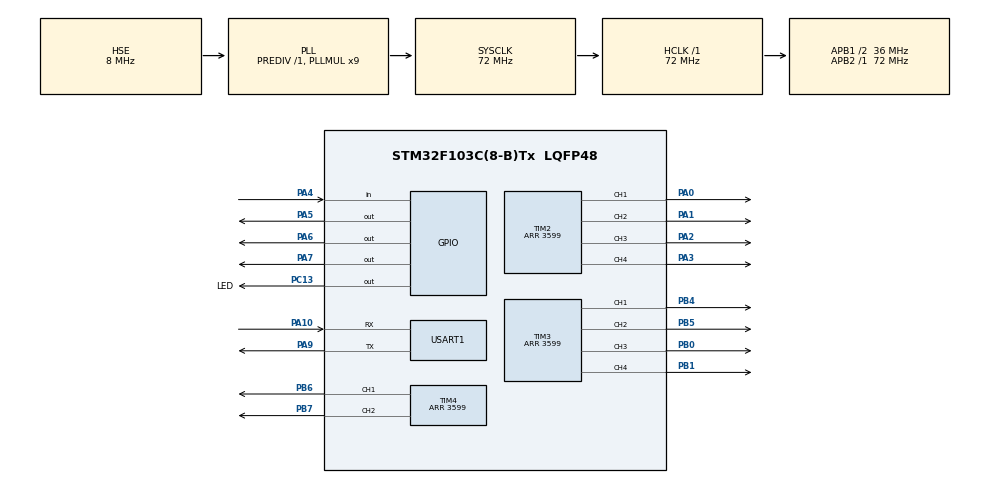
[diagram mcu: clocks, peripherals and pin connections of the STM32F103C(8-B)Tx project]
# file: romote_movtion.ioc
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Mcu.Family=STM32F1
Mcu.Name=STM32F103C(8-B)Tx
Mcu.Package=LQFP48
NVIC.PriorityGroup=NVIC_PRIORITYGROUP_4
PA0-WKUP.Signal=S_TIM2_CH1_ETR
PA1.Signal=S_TIM2_CH2
PA10.Mode=Asynchronous
PA10.Signal=USART1_RX
PA13.Mode=Serial_Wire
PA13.Signal=SYS_JTMS-SWDIO
PA14.Mode=Serial_Wire
PA14.Signal=SYS_JTCK-SWCLK
PA2.Signal=S_TIM2_CH3
PA3.Signal=S_TIM2_CH4
PA4.GPIO_PuPd=GPIO_PULLUP
PA4.Signal=GPIO_Input
PA5.GPIO_Speed=GPIO_SPEED_FREQ_HIGH
PA5.PinState=GPIO_PIN_RESET
PA5.Signal=GPIO_Output
PA6.GPIO_PuPd=GPIO_NOPULL
PA6.GPIO_Speed=GPIO_SPEED_FREQ_HIGH
PA6.PinState=GPIO_PIN_SET
PA6.Signal=GPIO_Output
PA7.GPIO_Speed=GPIO_SPEED_FREQ_HIGH
PA7.PinState=GPIO_PIN_SET
PA7.Signal=GPIO_Output
PC13.GPIO_Label=LED
PC13.PinState=GPIO_PIN_SET
PC13.Signal=GPIO_Output
PA9.Mode=Asynchronous
PA9.Signal=USART1_TX
PB0.Signal=S_TIM3_CH3
PB1.Signal=S_TIM3_CH4
PB4.Signal=S_TIM3_CH1
PB5.Signal=S_TIM3_CH2
PB6.Signal=S_TIM4_CH1
PB7.Signal=S_TIM4_CH2
PD0-OSC_IN.Mode=HSE-External-Oscillator
PD0-OSC_IN.Signal=RCC_OSC_IN
PD1-OSC_OUT.Mode=HSE-External-Oscillator
PD1-OSC_OUT.Signal=RCC_OSC_OUT
ProjectManager.HeapSize=0x200
ProjectManager.StackSize=0x800
ProjectManager.TargetToolchain=CMake
RCC.AHBFreq_Value=72000000
RCC.APB1CLKDivider=RCC_HCLK_DIV2
RCC.APB1Freq_Value=36000000
RCC.APB1TimFreq_Value=72000000
RCC.APB2Freq_Value=72000000
RCC.APB2TimFreq_Value=72000000
RCC.HCLKFreq_Value=72000000
RCC.PLLMUL=RCC_PLL_MUL9
RCC.PLLSourceVirtual=RCC_PLLSOURCE_HSE
RCC.SYSCLKFreq_VALUE=72000000
RCC.SYSCLKSource=RCC_SYSCLKSOURCE_PLLCLK
RCC.USBFreq_Value=72000000
SH.S_TIM2_CH1_ETR.0=TIM2_CH1,PWM Generation1 CH1
SH.S_TIM2_CH2.0=TIM2_CH2,PWM Generation2 CH2
SH.S_TIM2_CH3.0=TIM2_CH3,PWM Generation3 CH3
SH.S_TIM2_CH4.0=TIM2_CH4,PWM Generation4 CH4
SH.S_TIM3_CH1.0=TIM3_CH1,PWM Generation1 CH1
SH.S_TIM3_CH2.0=TIM3_CH2,PWM Generation2 CH2
SH.S_TIM3_CH3.0=TIM3_CH3,PWM Generation3 CH3
SH.S_TIM3_CH4.0=TIM3_CH4,PWM Generation4 CH4
SH.S_TIM4_CH1.0=TIM4_CH1,PWM Generation1 CH1
SH.S_TIM4_CH2.0=TIM4_CH2,PWM Generation2 CH2
TIM2.Channel-PWM\ Generation1\ CH1=TIM_CHANNEL_1
TIM2.Channel-PWM\ Generation2\ CH2=TIM_CHANNEL_2
TIM2.Channel-PWM\ Generation3\ CH3=TIM_CHANNEL_3
TIM2.Channel-PWM\ Generation4\ CH4=TIM_CHANNEL_4
TIM2.Period=3599
TIM3.Channel-PWM\ Generation1\ CH1=TIM_CHANNEL_1
TIM3.Channel-PWM\ Generation2\ CH2=TIM_CHANNEL_2
TIM3.Channel-PWM\ Generation3\ CH3=TIM_CHANNEL_3
TIM3.Channel-PWM\ Generation4\ CH4=TIM_CHANNEL_4
TIM3.Period=3599
TIM4.Channel-PWM\ Generation1\ CH1=TIM_CHANNEL_1
TIM4.Channel-PWM\ Generation2\ CH2=TIM_CHANNEL_2
TIM4.Period=3599
USART1.VirtualMode=VM_ASYNC
VP_TIM2_VS_ClockSourceINT.Mode=Internal
VP_TIM3_VS_ClockSourceINT.Mode=Internal
VP_TIM4_VS_ClockSourceINT.Mode=Internal
board=custom

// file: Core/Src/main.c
/* USER CODE BEGIN Header */
/**
  ******************************************************************************
  * @file           : main.c
  * @brief          : Main program body
  ******************************************************************************
  * @attention
  *
  * Copyright (c) 2026 STMicroelectronics.
  * All rights reserved.
  *
  * This software is licensed under terms that can be found in the LICENSE file
  * in the root directory of this software component.
  * If no LICENSE file comes with this software, it is provided AS-IS.
  *
  ******************************************************************************
  */
/* USER CODE END Header */
#include "main.h"
#include "tim.h"
#include "usart.h"
#include "gpio.h"

/* USER CODE BEGIN Includes */
#include "ps2.h"
#include "motor.h"
#include "chassis.h"
#include <stdio.h>
#include <math.h>
/* USER CODE END Includes */

/* USER CODE BEGIN PV */
/* ---------- 手柄状态 ---------- */
static ps2_state_t g_ps2;

/* ---------- 控制参数 ----------
 * 本手柄摇杆无模拟量，只能用方向按键做数字量控制
 */
#define CTRL_PERIOD_MS      10u    /* 控制周期 10ms，即 100Hz */
#define PS2_PERIOD_MS       10u    /* 手柄扫描周期 10ms */
#define MOVE_SPEED          0.50f  /* 平移速度（0~1） */
#define TURN_SPEED          0.50f  /* 自转速度（0~1） */

/* ---------- 运行状态 ---------- */
static uint8_t g_estop = 0;        /* 急停锁存：1 = 已急停 */
/* USER CODE END PV */

void SystemClock_Config(void);

/* USER CODE BEGIN 0 */

/* ============================================================
 * printf 重定向到 USART1（GCC newlib）
 *
 * 为什么不直接用 HAL_UART_Transmit？
 *   因为用寄存器操作更快，也不依赖 HAL 句柄的锁。
 *   syscalls.c 里有一个 __weak 的 _write，这里定义强符号覆盖它。
 * ============================================================ */
int _write(int file, char *ptr, int len)
{
    (void)file;

    for (int i = 0; i < len; i++) {
        /* 等待发送数据寄存器空 */
        while (!(USART1->SR & USART_SR_TXE)) {
            /* 等待 */
        }
        USART1->DR = (uint8_t)ptr[i];
    }

    /* 等最后一个字节真正发完 */
    while (!(USART1->SR & USART_SR_TC)) {
        /* 等待 */
    }

    return len;
}

/* ============================================================
 * LED 控制（PC13，User Label = LED）
 *
 * Blue Pill 板载的【用户 LED】接在 PC13，低电平点亮：
 *     PC13 = 0 → 亮
 *     PC13 = 1 → 灭
 *
 * 注意：板上另一个标 PWR 的灯是电源指示灯，通电就常亮，
 *       程序控制不了它，不要拿它当心跳指示。
 * ============================================================ */
static void led_write(uint8_t on)
{
    /* on = 1 点亮 → 引脚输出低电平 */
    HAL_GPIO_WritePin(LED_GPIO_Port, LED_Pin, on ? GPIO_PIN_RESET : GPIO_PIN_SET);
}

static void led_toggle(void)
{
    HAL_GPIO_TogglePin(LED_GPIO_Port, LED_Pin);
}

/* ============================================================
 * 方向按键 → 速度分量
 *
 * ⚠️ 本手柄的摇杆【没有模拟量】。手册原文：
 *    "左右摇杆模拟值为无效，推到极限时，
 *     对应发送 UP、RIGHT、DOWN、LEFT、∧、○、X、□"
 *    所以摇杆字节（ps2_rx[5]~[8]）是无效数据，不能用；
 *    空闲时它会读出乱七八糟的值，把电机驱得乱转。
 *    只能按"方向按键"来当数字量用。
 * ============================================================ */
static float btn_to_float(uint8_t pressed, float value)
{
    return pressed ? value : 0.0f;
}

/* USER CODE END 0 */

int main(void)
{

  /* MCU Configuration--------------------------------------------------------*/

  /* Reset of all peripherals, Initializes the Flash interface and the Systick. */
     HAL_Init();

  /* Configure the system clock */
  SystemClock_Config();

  /* Initialize all configured peripherals */
  MX_GPIO_Init();
  MX_TIM2_Init();
  MX_TIM3_Init();
  MX_TIM4_Init();
  MX_USART1_UART_Init();
  /* USER CODE BEGIN 2 */
  /* ---------- 1. 启动 PS2 驱动 ---------- */
  PS2_Init();

  /* ---------- 2. 启动电机 PWM ---------- */
  motor_init();

  /* ---------- 3. 开机自检：打印时钟信息，确认 72MHz ---------- */
  printf("\r\n========================================\r\n");
  printf("  PS2 Mecanum Car  -  STM32F103C8T6\r\n");
  printf("========================================\r\n");
  printf("SYSCLK = %lu Hz\r\n", (unsigned long)SystemCoreClock);
  printf("PCLK1  = %lu Hz\r\n", (unsigned long)HAL_RCC_GetPCLK1Freq());
  printf("----------------------------------------\r\n");
  printf("Left  stick : forward/back + strafe\r\n");
  printf("Right stick : rotate\r\n");
  printf("START       : toggle mode + release E-STOP\r\n");
  printf("SELECT      : emergency stop\r\n");
  printf("========================================\r\n\r\n");

  /* ---------- 4. LED 闪两下，表示初始化完成 ---------- */
  for (int i = 0; i < 2; i++) {
    led_write(1);
    HAL_Delay(120);
    led_write(0);
    HAL_Delay(120);
  }
  /* USER CODE END 2 */

  /* Infinite loop */
  /* USER CODE BEGIN WHILE */
  /* 各任务的软件定时时间戳，进入循环前归零 */
  uint32_t t_ctrl = 0;    /* 上次控制输出时刻 */
  uint32_t t_ps2  = 0;    /* 上次手柄扫描时刻 */
  uint32_t t_dbg  = 0;    /* 上次调试打印时刻 */
  uint32_t t_led  = 0;    /* 上次 LED 翻转时刻 */

  /* 注意：不要在 WHILE 区块里再写 while(1)，
     CubeMX 的循环语句就在下面，重复写会造成嵌套死循环 */
  while (1)
  {
    /* USER CODE END WHILE */

    /* USER CODE BEGIN 3 */
    uint32_t now = HAL_GetTick();

    /* ==========================================================
     * 【1】读输入：扫描 PS2 手柄
     * ========================================================== */
    if ((now - t_ps2) >= PS2_PERIOD_MS) {
        t_ps2 = now;

        if (!PS2_Scan(&g_ps2)) {
            /* 手柄掉线 —— 立即停车并锁存急停（最重要的安全逻辑） */
            chassis_stop();
            g_estop = 1;
        }
    }

    /* ==========================================================
     * 【2】处理按键
     * ========================================================== */
    if (g_ps2.btn1 & PS2_BTN_SELECT) {
        g_estop = 1;                 /* SELECT = 急停 */
    }

    if (g_ps2.btn1 & PS2_BTN_START) {
        g_estop = 0;                 /* 解除急停 */
        HAL_Delay(200);              /* 消抖 */
    }

    /* ==========================================================
     * 【3】控制周期：解析意图 → 麦轮运动学 → 输出 PWM
     *
     * ⚠️ 本手柄摇杆【没有模拟量】（见手册字节定义）：
     *    左摇杆推到极限 → 发送 UP / RIGHT / DOWN / LEFT
     *    右摇杆推到极限 → 发送 ∧(三角) / ○(圈) / X(叉) / □(方)
     *
     * 所以映射关系：
     *    左摇杆 = 前后左右平移（八方向）
     *    右摇杆 = 原地自转（○ 顺时针 / □ 逆时针）
     *
     *    两个可以同时用 → 边走边转
     * ========================================================== */
    if ((now - t_ctrl) >= CTRL_PERIOD_MS) {
        t_ctrl = now;

        if (g_estop) {
            chassis_stop();
        } else {
            /* 3.1 左摇杆 / 方向键 → 平移 */
            float vx = btn_to_float(g_ps2.btn1 & PS2_BTN_UP,    +MOVE_SPEED)
                     + btn_to_float(g_ps2.btn1 & PS2_BTN_DOWN,  -MOVE_SPEED);

            float vy = btn_to_float(g_ps2.btn1 & PS2_BTN_RIGHT, +MOVE_SPEED)
                     + btn_to_float(g_ps2.btn1 & PS2_BTN_LEFT,  -MOVE_SPEED);

            /* 3.2 右摇杆 → 原地自转 */
            float w  = btn_to_float(g_ps2.btn2 & PS2_BTN_CIRCLE, +TURN_SPEED)   /* 右推 */
                     + btn_to_float(g_ps2.btn2 & PS2_BTN_SQUARE, -TURN_SPEED);  /* 左推 */

            /* 3.3 输出到麦轮（归一化在 chassis_mecanum 里做） */
            chassis_mecanum(vx, vy, w);
        }
    }

    /* ==========================================================
     * 【4】LED 心跳：正常慢闪，急停/掉线快闪
     * ========================================================== */
    {
        uint32_t led_period = g_estop ? 100u : 500u;
        if ((now - t_led) >= led_period) {
            t_led = now;
            led_toggle();
        }
    }

    /* ==========================================================
     * 【5】调试打印，每秒一次（调通后可整段注释掉）
     * ========================================================== */
    if ((now - t_dbg) >= 1000u) {
        t_dbg = now;
        printf("[%s] mode=%02X btn1=%02X btn2=%02X L=(%3u,%3u) R=(%3u,%3u)\r\n",
               g_estop ? "E-STOP" : "RUN   ",
               g_ps2.mode, g_ps2.btn1, g_ps2.btn2,
               g_ps2.ljoy_lr, g_ps2.ljoy_ud,
               g_ps2.rjoy_lr, g_ps2.rjoy_ud);
    }

    /* USER CODE END 3 */
  }
}

void SystemClock_Config(void)
{
  RCC_OscInitTypeDef RCC_OscInitStruct = {0};
  RCC_ClkInitTypeDef RCC_ClkInitStruct = {0};

  /** Initializes the RCC Oscillators according to the specified parameters
  * in the RCC_OscInitTypeDef structure.
  */
  RCC_OscInitStruct.OscillatorType = RCC_OSCILLATORTYPE_HSE;
  RCC_OscInitStruct.HSEState = RCC_HSE_ON;
  RCC_OscInitStruct.HSEPredivValue = RCC_HSE_PREDIV_DIV1;
  RCC_OscInitStruct.HSIState = RCC_HSI_ON;
  RCC_OscInitStruct.PLL.PLLState = RCC_PLL_ON;
  RCC_OscInitStruct.PLL.PLLSource = RCC_PLLSOURCE_HSE;
  RCC_OscInitStruct.PLL.PLLMUL = RCC_PLL_MUL9;
  if (HAL_RCC_OscConfig(&RCC_OscInitStruct) != HAL_OK)
  {
    Error_Handler();
  }

  /** Initializes the CPU, AHB and APB buses clocks
  */
  RCC_ClkInitStruct.ClockType = RCC_CLOCKTYPE_HCLK|RCC_CLOCKTYPE_SYSCLK
                              |RCC_CLOCKTYPE_PCLK1|RCC_CLOCKTYPE_PCLK2;
  RCC_ClkInitStruct.SYSCLKSource = RCC_SYSCLKSOURCE_PLLCLK;
  RCC_ClkInitStruct.AHBCLKDivider = RCC_SYSCLK_DIV1;
  RCC_ClkInitStruct.APB1CLKDivider = RCC_HCLK_DIV2;
  RCC_ClkInitStruct.APB2CLKDivider = RCC_HCLK_DIV1;

  if (HAL_RCC_ClockConfig(&RCC_ClkInitStruct, FLASH_LATENCY_2) != HAL_OK)
  {
    Error_Handler();
  }
}

void Error_Handler(void)
{
  /* USER CODE BEGIN Error_Handler_Debug */
  /* ============================================================
   * 诊断用：用 LED 报错
   *
   * 三种现象对应三种情况，一眼就能区分：
   *   开机闪两下 → 然后【快速闪烁不停】 = 进了 Error_Handler，
   *                                        HAL 初始化失败（最可能是 HSE 起振）
   *   开机闪两下 → 然后【慢闪 / 快闪】   = 程序正常运行
   *   什么都不动 / 一直常亮               = 卡在别的死循环，不是这里
   *
   * 两个注意点：
   *  1. 这里已经 __disable_irq()，不能用 HAL_Delay，只能忙等
   *  2. 这个函数可能在 MX_GPIO_Init() 之前被调用（比如
   *     SystemClock_Config() 里 HSE 起振失败），所以必须
   *     自己先把 PC13 配成输出，否则灯根本点不亮
   * ============================================================ */
  __disable_irq();

  /* 自己配置 PC13，不依赖 MX_GPIO_Init() */
  __HAL_RCC_GPIOC_CLK_ENABLE();
  {
    GPIO_InitTypeDef gi = {0};
    gi.Pin   = LED_Pin;
    gi.Mode  = GPIO_MODE_OUTPUT_PP;
    gi.Pull  = GPIO_NOPULL;
    gi.Speed = GPIO_SPEED_FREQ_LOW;
    HAL_GPIO_Init(LED_GPIO_Port, &gi);
  }

  while (1)
  {
    HAL_GPIO_TogglePin(LED_GPIO_Port, LED_Pin);
    for (volatile uint32_t i = 0; i < 1000000u; i++) { }
  }
  /* USER CODE END Error_Handler_Debug */
}
